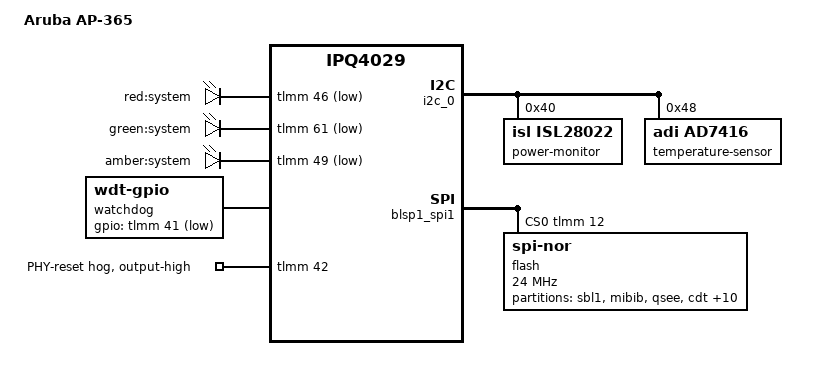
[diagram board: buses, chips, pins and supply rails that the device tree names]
// SPDX-License-Identifier: GPL-2.0-only OR MIT

#include "qcom-ipq4029-aruba-glenmorangie.dtsi"
#include <dt-bindings/gpio/gpio.h>

/ {
	model = "Aruba AP-365";
	compatible = "aruba,ap-365";

	aliases {
		led-boot = &led_system_green;
		led-failsafe = &led_system_red;
		led-running = &led_system_green;
		led-upgrade = &led_system_red;
	};

	leds {
		compatible = "gpio-leds";

		led_system_red: system_red {
			label = "red:system";
			gpios = <&tlmm 46 GPIO_ACTIVE_LOW>;
		};

		led_system_green: system_green {
			label = "green:system";
			gpios = <&tlmm 61 GPIO_ACTIVE_LOW>;
		};

		system_amber {
			label = "amber:system";
			gpios = <&tlmm 49 GPIO_ACTIVE_LOW>;
		};
	};

	watchdog {
		compatible = "linux,wdt-gpio";
		gpios = <&tlmm 41 GPIO_ACTIVE_LOW>;
		hw_algo = "toggle";
		hw_margin_ms = <1000>;
		always-running;
	};
};

&tlmm {
	/*
	 * In addition to the Pins listed below,
	 * the following GPIOs have "features":
	 * 39 - out - pulse low to reset watchdog status flipflop
	 * 40 - out - active high to enable watchdog
	 * 41 - out - watchdog poke
	 * 42 - out - active low to reset BLE radio
	 * 43 - out - active low to reset TPM
	 * 47 - out - pulse low to reset warm reset status
	 * 54 - out - active low to force HW reset
	 * 18 - in  - PHY interrupt line
	 * 45 - in  - power monitor interrupt
	 * 48 - in  - active low when cold reset
	 * 52 - in  - active high when watchdog reset
	 */

	phy-reset {
		line-name = "PHY-reset";
		gpios = <42 GPIO_ACTIVE_HIGH>;
		gpio-hog;
		output-high;
	};
};

&i2c_0 {
	power-monitor@40 {
		/* No driver */
		compatible = "isl,isl28022";
		reg = <0x40>;
	};

	temperature-sensor@48 {
		compatible = "adi,ad7416";
		reg = <0x48>;
	};
};

&blsp1_spi1 {
	pinctrl-0 = <&spi_0_pins>;
	pinctrl-names = "default";
	status = "okay";
	cs-gpios = <&tlmm 12 GPIO_ACTIVE_HIGH>;

	flash@0 {
		compatible = "jedec,spi-nor";
		reg = <0>;
		spi-max-frequency = <24000000>;

		partitions {
			compatible = "fixed-partitions";
			#address-cells = <1>;
			#size-cells = <1>;

			/*
			 * There is no partition map for the NOR flash
			 * in the stock firmware.
			 *
			 * All partitions here are based on offsets
			 * found in the U-Boot GPL code and information
			 * from smem.
			 */

			partition@0 {
				label = "sbl1";
				reg = <0x0 0x40000>;
				read-only;
			};

			partition@40000 {
				label = "mibib";
				reg = <0x40000 0x20000>;
				read-only;
			};

			partition@60000 {
				label = "qsee";
				reg = <0x60000 0x60000>;
				read-only;
			};

			partition@c0000 {
				label = "cdt";
				reg = <0xc0000 0x10000>;
				read-only;
			};

			partition@d0000 {
				label = "ddrparams";
				reg = <0xd0000 0x10000>;
				read-only;
			};

			partition@e0000 {
				label = "u-boot-env";
				reg = <0xe0000 0x10000>;
				read-only;
			};

			partition@f0000 {
				label = "appsbl";
				reg = <0xf0000 0x100000>;
				read-only;
			};

			partition@1f0000 {
				label = "ART";
				reg = <0x1f0000 0x10000>;
				read-only;
			};

			partition@200000 {
				label = "osss";
				reg = <0x200000 0x170000>;
				read-only;
			};

			partition@370000 {
				label = "pds";
				reg = <0x370000 0x10000>;
				read-only;
			};

			partition@380000 {
				label = "apcd";
				reg = <0x380000 0x10000>;
				read-only;
			};

			partition@390000 {
				label = "mfginfo";
				reg = <0x390000 0x10000>;
				read-only;
			};

			partition@3a0000 {
				label = "fcache";
				reg = <0x3a0000 0x10000>;
				read-only;
			};

			partition@3b0000 {
				label = "osss1";
				reg = <0x3b0000 0x50000>;
				read-only;
			};
		};
	};
};
